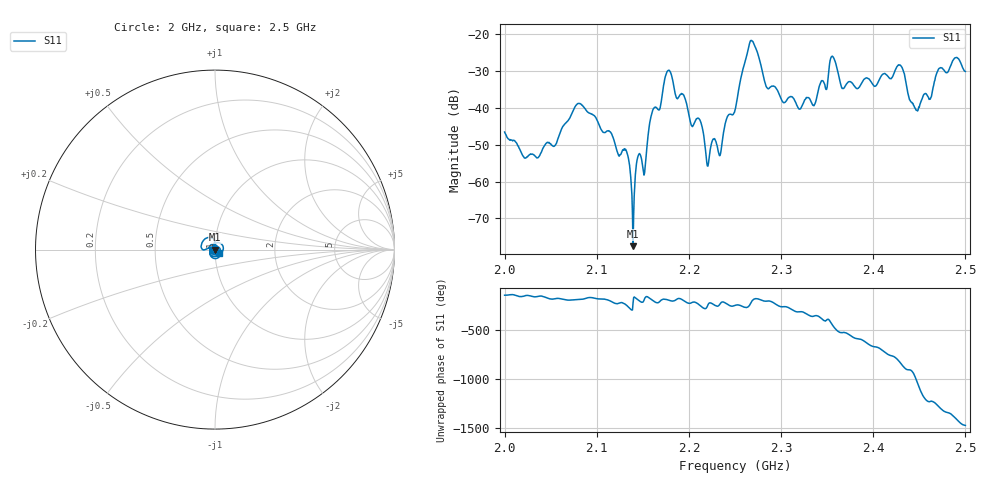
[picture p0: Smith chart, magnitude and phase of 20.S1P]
! C:\Users\rflab\Downloads\dp2_kdzw\20.S1P
! Touchstone 1.1 file saved by VNA.EXE V1.65 (www.ke5fx.com/gpib/readme.htm)
! 12/12/2024 6:49:08 PM
!  Source: HEWLETT PACKARD,8753D,0,6.14
!  Min freq: 2.000000E+009 Hz
!  Max freq: 2.500000E+009 Hz
!  Points: 801
!  Params: S21
# GHZ S MA R 50
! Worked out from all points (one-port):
!   801 points, 2 GHz to 2.5 GHz, reference 50 ohm
!   lowest |S11| = -77.5 dB at 2.139 GHz (marker M1), VSWR 1.00, Z = 50 + j0.00892 ohm
!   |S11| at or under -10 dB: start of sweep to end of sweep
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2  0.004701 -143.3
2.035625  0.002102 -157.1
2.0625  0.005379 177.1
2.081875  0.01145 173.1
2.125  0.002303 137.0
2.133125  0.002386 106.3
2.139375  0.000133 137.9
2.145  0.002249 166.9
2.151875  0.001307 -179.4
2.159375  0.008056 171.4
2.17625  0.031 170.9
2.1875  0.01329 179.3
2.211875  0.006879 112.8
2.220625  0.001622 117.5
2.23375  0.002258 127.7
2.25  0.009347 112.5
2.268125  0.08202 152.2
2.285  0.01864 156.6
2.3125  0.01395 64.2
2.335625  0.01068 2.1
2.355625  0.05031 -88.0
2.36625  0.01835 -167.2
2.375  0.02269 164.6
2.42875  0.03833 -108.4
2.4375  0.01601 171.9
2.4475  0.009242 47.1
2.471875  0.03457 146.6
2.5  0.0312 -38.9
